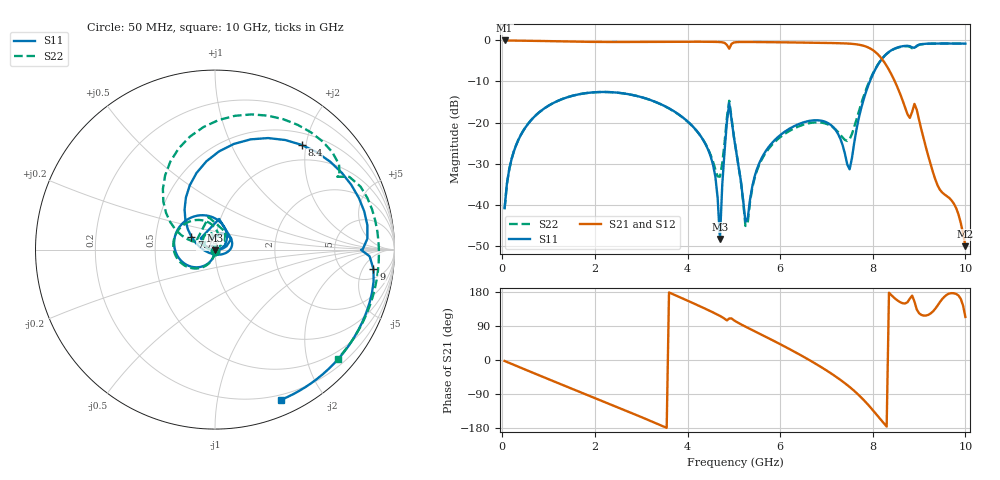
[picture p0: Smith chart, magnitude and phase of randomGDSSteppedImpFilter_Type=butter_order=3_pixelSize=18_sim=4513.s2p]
! freq	dB(S11)	phase(S11)	dB(S12)	phase(S12)
!  dB(S21)	phase(S21)	dB(S22)	phase(S22)
!S-par simulation data
#  GHz  S  DB  R 50
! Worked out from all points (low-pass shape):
!   200 points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, 50 MHz to 10 GHz, reference 50 ohm
!   highest |S21| = 0.00 dB at 50 MHz (marker M1); lowest = -50.1 dB at 10 GHz (marker M2)
!   |S21| within 3 dB of the highest: start of sweep to 8.074 GHz
!   lowest |S11| = -48.4 dB at 4.7 GHz (marker M3), VSWR 1.01, Z = 49.9 - j0.377 ohm
!   |S11| at or under -10 dB: start of sweep to 7.936 GHz
!   |S22| runs from -45.2 to -0.7 dB; largest |S21 - S12| = 0
!   S11 on the Smith chart (normalised r, x): 50 MHz: 1.00, -0.02; 7.75 GHz: 0.76, +0.11; 8.4 GHz: 0.70, +1.92; 9 GHz: 8, -9; 10 GHz: 0.15, -1.52
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0.05  -40.87 -92.5  -0.00 -2.6  -0.00 -2.6  -40.97 -93.0
0.2  -28.92 -100.9  -0.02 -10.3  -0.02 -10.3  -28.93 -100.1
0.5  -21.18 -116.9  -0.06 -25.5  -0.06 -25.5  -21.17 -114.9
1.75  -12.93 177.4  -0.33 -87.9  -0.33 -87.9  -12.93 -174.9
3.4  -15.42 87.2  -0.34 -171.2  -0.34 -171.2  -15.44 109.2
4.45  -26.75 18.6  -0.33 131.5  -0.33 131.5  -26.58 71.7
4.6  -33.12 3.7  -0.35 122.7  -0.35 122.7  -31.38 84.4
4.7  -48.37 -98.5  -0.40 116.4  -0.40 116.4  -33.19 130.4
4.75  -35.11 -179.1  -0.45 112.9  -0.45 112.9  -29.92 155.6
4.9  -15.28 82.3  -2.02 109.5  -2.02 109.5  -14.69 101.1
5.05  -27.00 8.0  -0.42 101.1  -0.42 101.1  -26.92 38.9
5.25  -44.15 46.5  -0.37 88.1  -0.37 88.1  -45.20 84.9
5.7  -26.77 115.1  -0.41 60.6  -0.41 60.6  -27.17 171.9
6.7  -19.49 42.9  -0.56 -5.1  -0.56 -5.1  -20.03 120.7
7.2  -21.86 -2.7  -0.65 -43.7  -0.65 -43.7  -21.72 99.2
7.5  -31.40 -108.9  -0.78 -71.1  -0.78 -71.1  -24.03 135.3
7.75  -16.50 151.4  -1.15 -98.7  -1.15 -98.7  -15.41 159.0
8.05  -7.15 103.5  -2.76 -139.5  -2.76 -139.5  -7.02 130.7
8.35  -2.79 57.3  -7.16 177.6  -7.16 177.6  -2.83 88.3
8.4  -2.41 50.3  -8.21 171.3  -8.21 171.3  -2.46 81.5
9  -1.02 -7.0  -19.38 123.2  -19.38 123.2  -1.08 23.4
10  -0.78 -66.2  -50.12 113.6  -50.12 113.6  -0.77 -41.6
